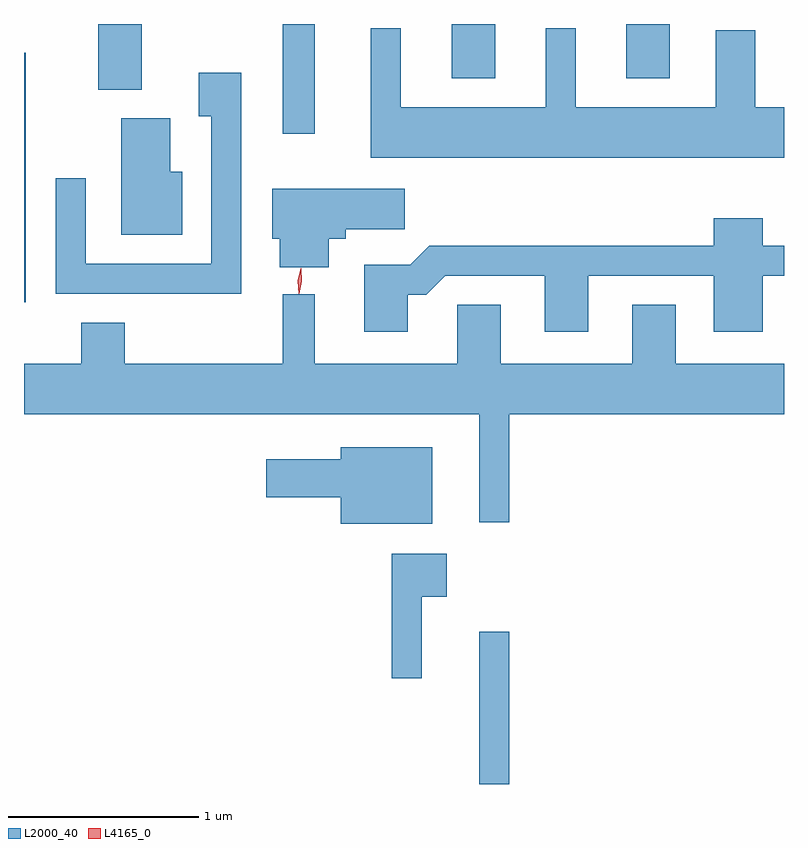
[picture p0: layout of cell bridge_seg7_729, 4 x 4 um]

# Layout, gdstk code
import gdstk
lib = gdstk.Library(unit=1e-6, precision=1e-09)
def R(c, l, rs):  # rectangles x0, y0, x1, y1
    for r in rs: c.add(gdstk.rectangle(r[:2], r[2:], *l))
def P(c, l, *ps):  # polygons
    for p in ps: c.add(gdstk.Polygon(p, *l))
L2000_40 = (2000, 40)
L4165_0 = (4165, 0)

bridge_seg7_729 = lib.new_cell('bridge_seg7_729')
R(bridge_seg7_729, L2000_40, [(557.896,1745.671,558.054,1746.473), (555.5,1748.206,555.509,1749.519), (556.861,1749.093,557.029,1749.671), (555.891,1749.326,556.119,1749.671), (557.751,1749.386,557.979,1749.671), (558.671,1749.386,558.899,1749.671)])
P(bridge_seg7_729, L2000_40, [(559.5,1749.234),(559.349,1749.234),(559.349,1749.639),(559.141,1749.639),(559.141,1749.234),(558.404,1749.234),(558.404,1749.648),(558.246,1749.648),(558.246,1749.234),(557.484,1749.234),(557.484,1749.648),(557.326,1749.648),(557.326,1748.966),(559.5,1748.966)],
  [(556.644,1749.414),(556.421,1749.414),(556.421,1749.186),(556.486,1749.186),(556.486,1748.409),(555.824,1748.409),(555.824,1748.858),(555.666,1748.858),(555.666,1748.251),(556.644,1748.251)],
  [(556.334,1748.894),(556.269,1748.894),(556.269,1749.174),(556.011,1749.174),(556.011,1748.561),(556.334,1748.561)],
  [(557.104,1748.541),(557.194,1748.541),(557.194,1748.591),(557.504,1748.591),(557.504,1748.804),(556.806,1748.804),(556.806,1748.541),(556.846,1748.541),(556.846,1748.391),(557.104,1748.391)],
  [(557.519,1748.246),(557.617,1748.246),(557.717,1748.346),(558.241,1748.346),(558.241,1748.051),(558.469,1748.051),(558.469,1748.346),(559.131,1748.346),(559.131,1748.051),(559.389,1748.051),(559.389,1748.346),(559.5,1748.346),(559.5,1748.504),(559.389,1748.504),(559.389,1748.649),(559.131,1748.649),(559.131,1748.504),(557.634,1748.504),(557.534,1748.404),(557.291,1748.404),(557.291,1748.051),(557.519,1748.051)],
  [(558.054,1747.616),(559.5,1747.616),(559.5,1747.884),(558.929,1747.884),(558.929,1748.194),(558.701,1748.194),(558.701,1747.884),(558.009,1747.884),(558.009,1748.194),(557.781,1748.194),(557.781,1747.884),(557.029,1747.884),(557.029,1748.248),(556.861,1748.248),(556.861,1747.884),(556.029,1747.884),(556.029,1748.099),(555.801,1748.099),(555.801,1747.884),(555.5,1747.884),(555.5,1747.616),(557.896,1747.616),(557.896,1747.048),(558.054,1747.048)],
  [(557.649,1747.444),(557.166,1747.444),(557.166,1747.379),(556.776,1747.379),(556.776,1747.181),(557.166,1747.181),(557.166,1747.041),(557.649,1747.041)],
  [(557.594,1746.656),(557.724,1746.656),(557.724,1746.884),(557.436,1746.884),(557.436,1746.228),(557.594,1746.228)])
P(bridge_seg7_729, L4165_0, [(556.947,1748.25),(556.947,1748.251),(556.942,1748.319),(556.957,1748.386),(556.957,1748.386),(556.958,1748.386),(556.962,1748.318),(556.948,1748.251)])

lib.write_gds('bridge_seg7_729.gds')
